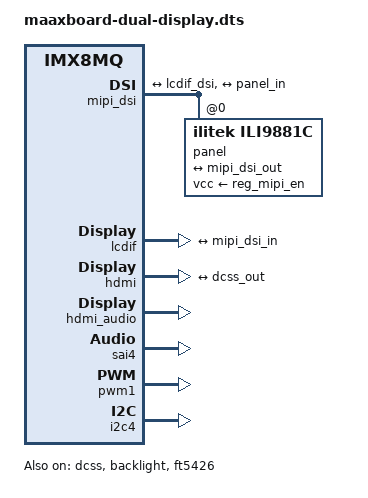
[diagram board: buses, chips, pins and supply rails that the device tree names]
/*
 * Copyright 2021 AVNET
 *
 * This program is free software; you can redistribute it and/or
 * modify it under the terms of the GNU General Public License
 * as published by the Free Software Foundation; either version 2
 * of the License, or (at your option) any later version.
 *
 * This program is distributed in the hope that it will be useful,
 * but WITHOUT ANY WARRANTY; without even the implied warranty of
 * MERCHANTABILITY or FITNESS FOR A PARTICULAR PURPOSE.  See the
 * GNU General Public License for more details.
 */

/dts-v1/;
/plugin/;

/ {
	compatible = "avnet,maaxboard", "fsl,imx8mq";

	fragment@0 {
		target = <&dcss>;
		__overlay__ {
			status = "okay";
			port@0 {
				dcss_out: endpoint {
					remote-endpoint = <&hdmi_in>;
				};
			};
		};
	};

	fragment@1 {
		target = <&mipi_dsi>;
		__overlay__ {
			#address-cells = <1>;
			#size-cells = <0>;
			status = "okay";
			panel@0 {
				compatible = "ilitek,ili9881c";
				reg = <0>;
				vcc-supply = <&reg_mipi_en>;
				dsi-lanes = <2>;

				port {
					panel_in: endpoint {
						remote-endpoint = <&mipi_dsi_out>;
					};
				};
			};

			ports {
				#address-cells = <1>;
				#size-cells = <0>;
				port@0 {
					reg = <0>;
					mipi_dsi_in: endpoint {
						remote-endpoint = <&lcdif_dsi>;
					};
				};
				port@1 {
					reg = <1>;
					mipi_dsi_out: endpoint {
						remote-endpoint = <&panel_in>;
					};
				};
			};
		};
	};

	fragment@2 {
		target = <&lcdif>;
		__overlay__ {
			status = "okay";

			port@0 {
				lcdif_dsi: endpoint {
					remote-endpoint = <&mipi_dsi_in>;
				};
			};
		};
	};

	fragment@3 {
		target = <&hdmi>;
		__overlay__ {
			compatible = "cdn,imx8mq-hdmi";
			lane-mapping = <0xe4>;
			status = "okay";

			port@1 {
				hdmi_in: endpoint {
					remote-endpoint = <&dcss_out>;
				};
			};
		};
	};

	fragment@4 {
		target = <&hdmi_audio>;
		__overlay__ {
			status = "okay";
		};
	};

	fragment@5 {
		target = <&sai4>;
		__overlay__ {
			status = "okay";
		};
	};

	fragment@6 {
		target = <&pwm1>;
		__overlay__ {
			status = "okay";
		};
	};

	fragment@7 {
		target = <&backlight>;
		__overlay__ {
			status = "okay";
		};
	};

	fragment@8 {
		target = <&i2c4>;
		__overlay__ {
			status = "okay";
		};
	};

	fragment@9 {
		target = <&ft5426>;
		__overlay__ {
			status = "okay";
		};
	};
};

